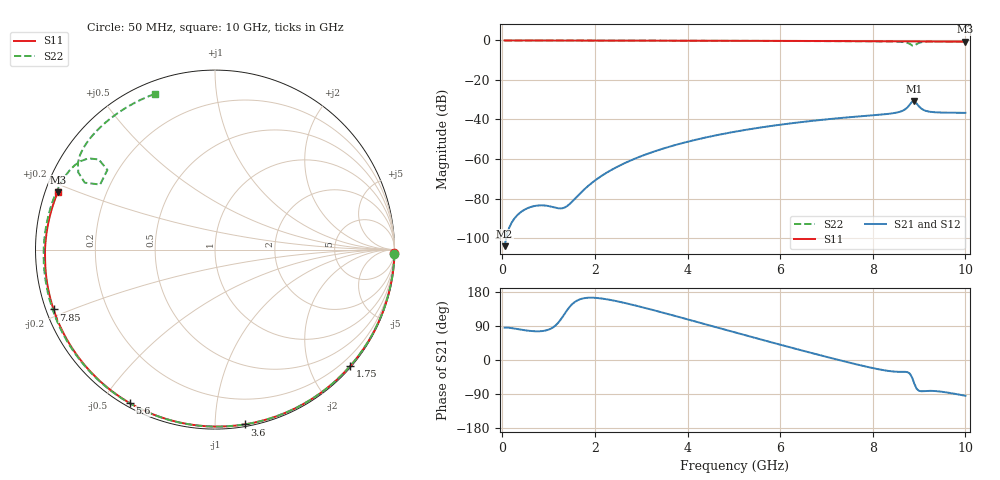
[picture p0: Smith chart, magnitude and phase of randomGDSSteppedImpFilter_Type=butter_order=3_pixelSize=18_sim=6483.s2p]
! freq	dB(S11)	phase(S11)	dB(S12)	phase(S12)
!  dB(S21)	phase(S21)	dB(S22)	phase(S22)
!S-par simulation data
#  GHz  S  DB  R 50
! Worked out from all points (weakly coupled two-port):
!   200 points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, 50 MHz to 10 GHz, reference 50 ohm
!   highest |S21| = -30.72 dB at 8.9 GHz (marker M1); lowest = -104.1 dB at 50 MHz (marker M2)
!   lowest |S11| = -0.6 dB at 10 GHz (marker M3), VSWR 28.72, Z = 1.8 + j8.86 ohm
!   |S11| at or under -10 dB: nowhere
!   |S22| runs from -2.7 to 0.0 dB; largest |S21 - S12| = 0
!   S11 on the Smith chart (normalised r, x): 50 MHz: 0, -96; 1.75 GHz: 0.02, -2.70; 3.6 GHz: 0.01, -1.18; 5.6 GHz: 0.01, -0.59; 7.85 GHz: 0.02, -0.18; 10 GHz: 0.04, +0.18
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0.05  -0.00 -1.2  -104.11 85.5  -104.11 85.5  -0.00 -1.3
0.75  -0.02 -17.7  -83.58 75.7  -83.58 75.7  -0.02 -18.9
1.55  -0.05 -36.2  -80.56 151.7  -80.56 151.7  -0.05 -38.7
1.75  -0.05 -40.7  -75.82 162.7  -75.82 162.7  -0.06 -43.6
2.05  -0.06 -47.4  -70.05 163.6  -70.05 163.6  -0.06 -50.8
2.45  -0.07 -56.2  -64.33 155.7  -64.33 155.7  -0.08 -60.4
3.4  -0.10 -76.3  -55.27 127.2  -55.27 127.2  -0.11 -82.5
3.6  -0.11 -80.4  -53.83 120.6  -53.83 120.6  -0.12 -87.1
4.3  -0.13 -94.4  -49.59 97.2  -49.59 97.2  -0.15 -102.9
5.05  -0.16 -108.8  -46.07 72.0  -46.07 72.0  -0.18 -119.6
5.6  -0.19 -119.1  -43.97 53.6  -43.97 53.6  -0.22 -131.8
6.7  -0.26 -139.0  -40.66 17.8  -40.66 17.8  -0.31 -157.1
7.85  -0.36 -159.6  -38.15 -17.3  -38.15 -17.3  -0.44 174.1
8.35  -0.41 -168.7  -37.10 -29.1  -37.10 -29.1  -0.54 159.7
8.6  -0.44 -173.3  -35.97 -31.3  -35.97 -31.3  -0.72 151.0
8.75  -0.46 -176.1  -33.84 -32.1  -33.84 -32.1  -1.21 144.2
8.85  -0.47 -177.9  -31.01 -46.3  -31.01 -46.3  -2.54 143.5
8.9  -0.47 -178.8  -30.72 -63.4  -30.72 -63.4  -2.67 150.5
9  -0.48 179.3  -33.45 -81.5  -33.45 -81.5  -1.16 150.5
9.2  -0.50 175.5  -35.94 -81.4  -35.94 -81.4  -0.64 140.5
9.55  -0.55 168.8  -36.52 -84.8  -36.52 -84.8  -0.59 127.4
10  -0.61 159.9  -36.63 -94.4  -36.63 -94.4  -0.63 111.2
